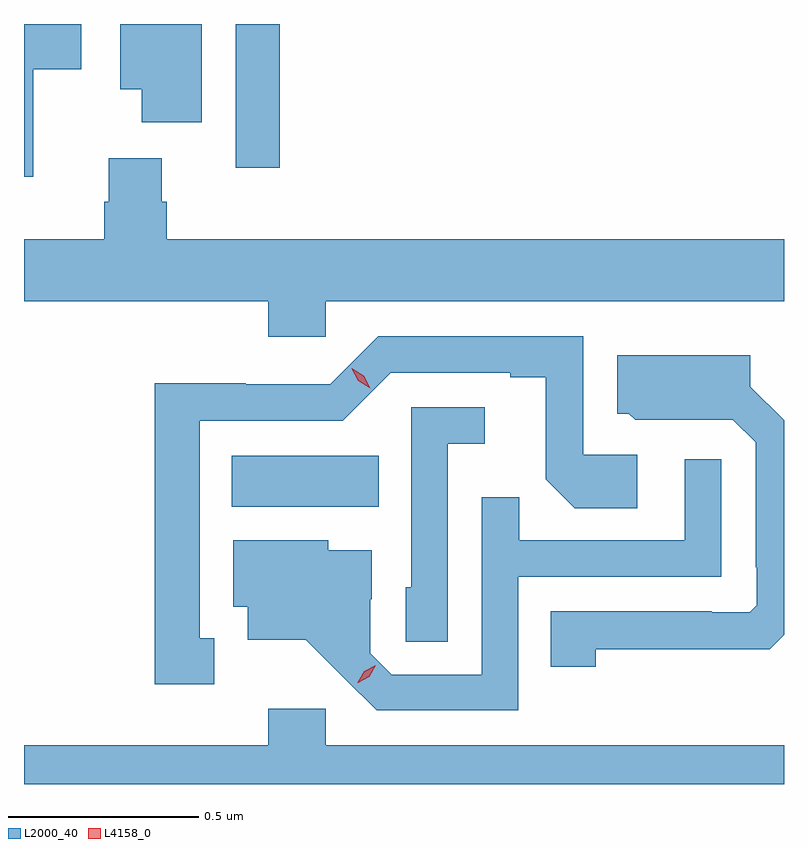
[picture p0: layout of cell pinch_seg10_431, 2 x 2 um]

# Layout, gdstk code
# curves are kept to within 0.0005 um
import gdstk
lib = gdstk.Library(unit=1e-6, precision=1e-09)
def R(c, l, rs):  # rectangles x0, y0, x1, y1
    for r in rs: c.add(gdstk.rectangle(r[:2], r[2:], *l))
def P(c, l, *ps):  # polygons
    for p in ps: c.add(gdstk.Polygon(p, *l))
L2000_40 = (2000, 40)
L4158_0 = (4158, 0)

pinch_seg10_431 = lib.new_cell('pinch_seg10_431')
R(pinch_seg10_431, L2000_40, [(598.463,1261.148,598.85,1261.282), (598.473,1262.04,598.589,1262.418)])
P(pinch_seg10_431, L2000_40, [(597.94,1262.299),(598.066,1262.299),(598.066,1262.418),(597.916,1262.418),(597.916,1262.016),(597.94,1262.016)],
  [(598.384,1262.418),(598.169,1262.418),(598.169,1262.246),(598.226,1262.246),(598.226,1262.16),(598.384,1262.16)],
  [(598.71,1261.688),(599.916,1261.688),(599.916,1261.852),(598.292,1261.852),(598.292,1261.95),(598.279,1261.95),(598.279,1262.065),(598.139,1262.065),(598.139,1261.95),(598.127,1261.95),(598.127,1261.852),(597.916,1261.852),(597.916,1261.688),(598.559,1261.688),(598.559,1261.595),(598.71,1261.595)],
  [(598.417,1260.801),(598.378,1260.801),(598.378,1261.374),(598.755,1261.374),(598.881,1261.5),(599.195,1261.5),(599.195,1261.488),(599.289,1261.488),(599.289,1261.22),(599.365,1261.144),(599.53,1261.144),(599.53,1261.284),(599.388,1261.284),(599.388,1261.596),(598.848,1261.596),(598.722,1261.47),(598.5,1261.47),(598.5,1261.472),(598.26,1261.472),(598.26,1260.681),(598.417,1260.681)],
  [(599.421,1260.772),(599.777,1260.772),(599.777,1260.773),(599.878,1260.773),(599.916,1260.811),(599.916,1261.375),(599.827,1261.464),(599.827,1261.546),(599.477,1261.546),(599.477,1261.392),(599.508,1261.392),(599.524,1261.376),(599.658,1261.376),(599.658,1261.377),(599.781,1261.377),(599.841,1261.317),(599.841,1260.988),(599.844,1260.988),(599.844,1260.888),(599.826,1260.87),(599.726,1260.87),(599.726,1260.873),(599.302,1260.873),(599.302,1260.726),(599.421,1260.726)],
  [(599.031,1261.313),(599.128,1261.313),(599.128,1261.41),(598.935,1261.41),(598.935,1260.936),(598.92,1260.936),(598.92,1260.793),(599.031,1260.793)],
  [(599.217,1260.963),(599.751,1260.963),(599.751,1261.273),(599.655,1261.273),(599.655,1261.059),(599.219,1261.059),(599.219,1261.172),(599.121,1261.172),(599.121,1260.705),(598.884,1260.705),(598.827,1260.762),(598.827,1260.904),(598.831,1260.904),(598.831,1261.033),(598.716,1261.033),(598.716,1261.06),(598.466,1261.06),(598.466,1260.884),(598.505,1260.884),(598.505,1260.797),(598.657,1260.797),(598.844,1260.612),(599.217,1260.612)],
  [(599.916,1260.52),(598.71,1260.52),(598.71,1260.616),(598.559,1260.616),(598.559,1260.52),(597.916,1260.52),(597.916,1260.418),(599.916,1260.418)])
P(pinch_seg10_431, L4158_0, [(598.794,1260.685),(598.794,1260.686),(598.811,1260.715),(598.842,1260.73),(598.842,1260.73),(598.842,1260.73),(598.825,1260.7),(598.795,1260.685)],
  [(598.827,1261.46),(598.795,1261.479),(598.778,1261.511),(598.778,1261.512),(598.778,1261.512),(598.81,1261.492),(598.827,1261.46),(598.827,1261.46)])

lib.write_gds('pinch_seg10_431.gds')
